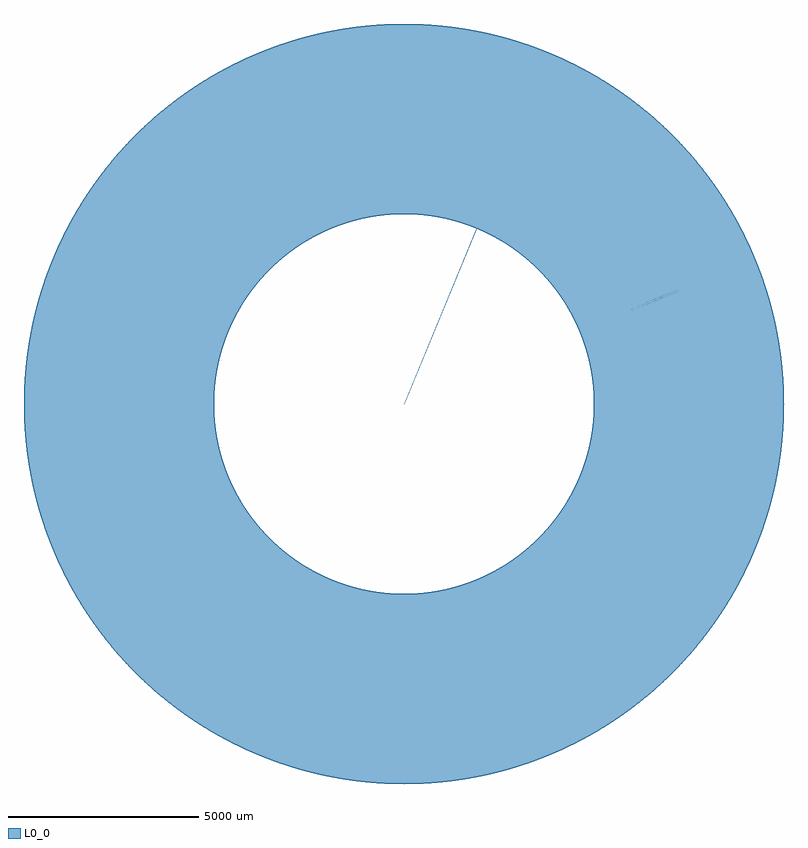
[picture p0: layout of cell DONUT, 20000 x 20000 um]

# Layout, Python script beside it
import gdspy
import numpy as np

# Create a new library
lib = gdspy.GdsLibrary()

# Create a new cell
cell = lib.new_cell("DONUT")

# Convert mm to µm (GDS units are in µm)
outer_radius = 10000  # 10 mm = 10000 µm
inner_radius = 5000   # 5 mm = 5000 µm
max_distance = 10     # 0.01 mm = 10 µm

# Calculate the number of points needed for smooth circles
num_points = int(np.ceil(2 * np.pi * outer_radius / max_distance))

# Create the outer circle
outer_circle = gdspy.Round((0, 0), outer_radius, number_of_points=num_points)

# Create the inner circle
inner_circle = gdspy.Round((0, 0), inner_radius, number_of_points=num_points)

# Create the donut by subtracting the inner circle from the outer circle
donut = gdspy.boolean(outer_circle, inner_circle, "not")

# Add the donut to the cell
cell.add(donut)

# Save the design to a GDS file
lib.write_gds("donut.gds")

# Optional: View the layout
